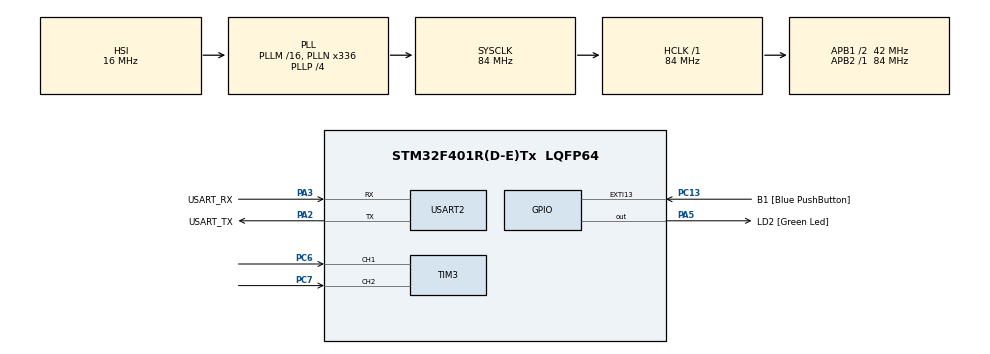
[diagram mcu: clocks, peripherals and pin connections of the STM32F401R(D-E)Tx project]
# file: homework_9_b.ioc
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Dma.Request0=USART2_TX
Dma.USART2_TX.0.Direction=DMA_MEMORY_TO_PERIPH
Dma.USART2_TX.0.FIFOMode=DMA_FIFOMODE_DISABLE
Dma.USART2_TX.0.Instance=DMA1_Stream6
Dma.USART2_TX.0.MemDataAlignment=DMA_MDATAALIGN_BYTE
Dma.USART2_TX.0.MemInc=DMA_MINC_ENABLE
Dma.USART2_TX.0.Mode=DMA_NORMAL
Dma.USART2_TX.0.PeriphDataAlignment=DMA_PDATAALIGN_BYTE
Dma.USART2_TX.0.PeriphInc=DMA_PINC_DISABLE
Dma.USART2_TX.0.Priority=DMA_PRIORITY_LOW
Mcu.Family=STM32F4
Mcu.Name=STM32F401R(D-E)Tx
Mcu.Package=LQFP64
NVIC.DMA1_Stream6_IRQn=true\:0\:0\:false\:false\:true\:false\:true\:true
NVIC.PriorityGroup=NVIC_PRIORITYGROUP_0
NVIC.TIM1_UP_TIM10_IRQn=true\:0\:0\:false\:false\:true\:true\:true\:true
NVIC.USART2_IRQn=true\:0\:0\:false\:false\:true\:true\:true\:true
PA13.GPIO_Label=TMS
PA13.Mode=Serial_Wire
PA13.Signal=SYS_JTMS-SWDIO
PA14.GPIO_Label=TCK
PA14.Mode=Serial_Wire
PA14.Signal=SYS_JTCK-SWCLK
PA2.GPIO_Label=USART_TX
PA2.GPIO_Mode=GPIO_MODE_AF_PP
PA2.GPIO_PuPd=GPIO_NOPULL
PA2.GPIO_Speed=GPIO_SPEED_FREQ_LOW
PA2.Mode=Asynchronous
PA2.Signal=USART2_TX
PA3.GPIO_Label=USART_RX
PA3.GPIO_Mode=GPIO_MODE_AF_PP
PA3.GPIO_PuPd=GPIO_NOPULL
PA3.GPIO_Speed=GPIO_SPEED_FREQ_LOW
PA3.Mode=Asynchronous
PA3.Signal=USART2_RX
PA5.GPIO_Label=LD2 [Green Led]
PA5.GPIO_Mode=GPIO_MODE_OUTPUT_PP
PA5.GPIO_PuPd=GPIO_NOPULL
PA5.GPIO_Speed=GPIO_SPEED_FREQ_LOW
PA5.Signal=GPIO_Output
PB3.GPIO_Label=SWO
PB3.Signal=SYS_JTDO-SWO
PC13-ANTI_TAMP.GPIO_Label=B1 [Blue PushButton]
PC13-ANTI_TAMP.GPIO_ModeDefaultEXTI=GPIO_MODE_IT_FALLING
PC13-ANTI_TAMP.GPIO_PuPd=GPIO_NOPULL
PC13-ANTI_TAMP.Signal=GPXTI13
PC14-OSC32_IN.Mode=LSE-External-Oscillator
PC14-OSC32_IN.Signal=RCC_OSC32_IN
PC15-OSC32_OUT.Mode=LSE-External-Oscillator
PC15-OSC32_OUT.Signal=RCC_OSC32_OUT
PC6.Signal=S_TIM3_CH1
PC7.Signal=S_TIM3_CH2
PH0\ -\ OSC_IN.Mode=HSE-External-Clock-Source
PH0\ -\ OSC_IN.Signal=RCC_OSC_IN
PH1\ -\ OSC_OUT.Mode=HSE-External-Clock-Source
PH1\ -\ OSC_OUT.Signal=RCC_OSC_OUT
ProjectManager.HeapSize=0x200
ProjectManager.StackSize=0x400
ProjectManager.TargetToolchain=STM32CubeIDE
RCC.48MHZClocksFreq_Value=48000000
RCC.AHBFreq_Value=84000000
RCC.APB1CLKDivider=RCC_HCLK_DIV2
RCC.APB1Freq_Value=42000000
RCC.APB1TimFreq_Value=84000000
RCC.APB2Freq_Value=84000000
RCC.APB2TimFreq_Value=84000000
RCC.CortexFreq_Value=84000000
RCC.HCLKFreq_Value=84000000
RCC.HSE_VALUE=8000000
RCC.HSI_VALUE=16000000
RCC.PLLN=336
RCC.PLLP=RCC_PLLP_DIV4
RCC.PLLQ=7
RCC.SYSCLKFreq_VALUE=84000000
RCC.SYSCLKSource=RCC_SYSCLKSOURCE_PLLCLK
RCC.VCOOutputFreq_Value=336000000
SH.S_TIM3_CH1.0=TIM3_CH1,Encoder_Interface
SH.S_TIM3_CH2.0=TIM3_CH2,Encoder_Interface
TIM10.Period=8400-1
TIM10.Prescaler=10000-1
TIM3.ClockDivision=TIM_CLOCKDIVISION_DIV4
TIM3.IC1Filter=15
TIM3.IC1Polarity=TIM_ICPOLARITY_FALLING
TIM3.IC2Filter=15
USART2.VirtualMode=VM_ASYNC
VP_TIM10_VS_ClockSourceINT.Mode=Enable_Timer
board=NUCLEO-F401RE

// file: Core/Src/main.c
/* USER CODE BEGIN Header */
/**
  ******************************************************************************
  * @file           : main.c
  * @brief          : Main program body
  ******************************************************************************
  * @attention
  *
  * Copyright (c) 2022 STMicroelectronics.
  * All rights reserved.
  *
  * This software is licensed under terms that can be found in the LICENSE file
  * in the root directory of this software component.
  * If no LICENSE file comes with this software, it is provided AS-IS.
  *
  ******************************************************************************
  */
/* USER CODE END Header */
#include "main.h"

/* USER CODE BEGIN PD */
#define MAX_JUMP 24         //assuming that fingers can't make more than, for example,
/* USER CODE END PD */      //one full-turn of the encoder knob in a second

TIM_HandleTypeDef htim3;
TIM_HandleTypeDef htim10;

UART_HandleTypeDef huart2;
DMA_HandleTypeDef hdma_usart2_tx;

/* USER CODE BEGIN PV */
int16_t new_counts_in_1_second = 0;
int16_t old_counts_in_1_second;
int delta;
float RPMs;
char output_string[64];
/* USER CODE END PV */

void SystemClock_Config(void);
static void MX_GPIO_Init(void);
static void MX_DMA_Init(void);
static void MX_USART2_UART_Init(void);
static void MX_TIM3_Init(void);
static void MX_TIM10_Init(void);

/* USER CODE BEGIN 0 */
void HAL_TIM_PeriodElapsedCallback(TIM_HandleTypeDef* calling_timer){
  if(calling_timer==&htim10){
    old_counts_in_1_second=new_counts_in_1_second;
    new_counts_in_1_second=__HAL_TIM_GET_COUNTER(&htim3);
    delta=new_counts_in_1_second-old_counts_in_1_second;

    if(delta<-MAX_JUMP){          //strange count jump: it must be an overflow (es (-32768)-32766 instead of 32768-32766)
      delta=delta+65536;          //OVERFLOW PROTECTION, scaling result by 2^16=65536 (16bit Timer)
    }
    else if(delta>MAX_JUMP){      //strange count jump: it must be an underflow (es 32766-(-32768) instead of (-32770)-(-32768))
      delta=delta-65536;          //UNDERFLOW PROTECTION, scaling result by 2^16=65536 (16bit Timer)
    }

    RPMs=(delta/24.0)*60;
    snprintf(output_string, sizeof(output_string), "RPMs = %.3f, New = %d, Old = %d, Delta = %d\r\n", RPMs, new_counts_in_1_second, old_counts_in_1_second, delta);
    HAL_UART_Transmit_DMA(&huart2, output_string, strlen(output_string));
  }
}
/* USER CODE END 0 */

int main(void)
{

  /* MCU Configuration--------------------------------------------------------*/

  /* Reset of all peripherals, Initializes the Flash interface and the Systick. */
  HAL_Init();

  /* Configure the system clock */
  SystemClock_Config();

  /* Initialize all configured peripherals */
  MX_GPIO_Init();
  MX_DMA_Init();
  MX_USART2_UART_Init();
  MX_TIM3_Init();
  MX_TIM10_Init();
  /* USER CODE BEGIN 2 */
  HAL_TIM_Encoder_Start(&htim3, TIM_CHANNEL_ALL);

  //new_counts_in_1_second=32766;             //FOR DEBUG
  //__HAL_TIM_SET_COUNTER(&htim3, 32766);     //FOR DEBUG

  //new_counts_in_1_second=-32768;            //FOR DEBUG
  //__HAL_TIM_SET_COUNTER(&htim3, -32768);    //FOR DEBUG

  HAL_TIM_Base_Start_IT(&htim10);
  /* USER CODE END 2 */

  /* Infinite loop */
  while (1)
  {

  }
}

void SystemClock_Config(void)
{
  RCC_OscInitTypeDef RCC_OscInitStruct = {0};
  RCC_ClkInitTypeDef RCC_ClkInitStruct = {0};

  /** Configure the main internal regulator output voltage
  */
  __HAL_RCC_PWR_CLK_ENABLE();
  __HAL_PWR_VOLTAGESCALING_CONFIG(PWR_REGULATOR_VOLTAGE_SCALE2);

  /** Initializes the RCC Oscillators according to the specified parameters
  * in the RCC_OscInitTypeDef structure.
  */
  RCC_OscInitStruct.OscillatorType = RCC_OSCILLATORTYPE_HSI;
  RCC_OscInitStruct.HSIState = RCC_HSI_ON;
  RCC_OscInitStruct.HSICalibrationValue = RCC_HSICALIBRATION_DEFAULT;
  RCC_OscInitStruct.PLL.PLLState = RCC_PLL_ON;
  RCC_OscInitStruct.PLL.PLLSource = RCC_PLLSOURCE_HSI;
  RCC_OscInitStruct.PLL.PLLM = 16;
  RCC_OscInitStruct.PLL.PLLN = 336;
  RCC_OscInitStruct.PLL.PLLP = RCC_PLLP_DIV4;
  RCC_OscInitStruct.PLL.PLLQ = 7;
  if (HAL_RCC_OscConfig(&RCC_OscInitStruct) != HAL_OK)
  {
    Error_Handler();
  }

  /** Initializes the CPU, AHB and APB buses clocks
  */
  RCC_ClkInitStruct.ClockType = RCC_CLOCKTYPE_HCLK|RCC_CLOCKTYPE_SYSCLK
                              |RCC_CLOCKTYPE_PCLK1|RCC_CLOCKTYPE_PCLK2;
  RCC_ClkInitStruct.SYSCLKSource = RCC_SYSCLKSOURCE_PLLCLK;
  RCC_ClkInitStruct.AHBCLKDivider = RCC_SYSCLK_DIV1;
  RCC_ClkInitStruct.APB1CLKDivider = RCC_HCLK_DIV2;
  RCC_ClkInitStruct.APB2CLKDivider = RCC_HCLK_DIV1;

  if (HAL_RCC_ClockConfig(&RCC_ClkInitStruct, FLASH_LATENCY_2) != HAL_OK)
  {
    Error_Handler();
  }
}

static void MX_TIM3_Init(void)
{

  TIM_Encoder_InitTypeDef sConfig = {0};
  TIM_MasterConfigTypeDef sMasterConfig = {0};

  htim3.Instance = TIM3;
  htim3.Init.Prescaler = 0;
  htim3.Init.CounterMode = TIM_COUNTERMODE_UP;
  htim3.Init.Period = 65535;
  htim3.Init.ClockDivision = TIM_CLOCKDIVISION_DIV4;
  htim3.Init.AutoReloadPreload = TIM_AUTORELOAD_PRELOAD_DISABLE;
  sConfig.EncoderMode = TIM_ENCODERMODE_TI1;
  sConfig.IC1Polarity = TIM_ICPOLARITY_FALLING;
  sConfig.IC1Selection = TIM_ICSELECTION_DIRECTTI;
  sConfig.IC1Prescaler = TIM_ICPSC_DIV1;
  sConfig.IC1Filter = 15;
  sConfig.IC2Polarity = TIM_ICPOLARITY_RISING;
  sConfig.IC2Selection = TIM_ICSELECTION_DIRECTTI;
  sConfig.IC2Prescaler = TIM_ICPSC_DIV1;
  sConfig.IC2Filter = 15;
  if (HAL_TIM_Encoder_Init(&htim3, &sConfig) != HAL_OK)
  {
    Error_Handler();
  }
  sMasterConfig.MasterOutputTrigger = TIM_TRGO_RESET;
  sMasterConfig.MasterSlaveMode = TIM_MASTERSLAVEMODE_DISABLE;
  if (HAL_TIMEx_MasterConfigSynchronization(&htim3, &sMasterConfig) != HAL_OK)
  {
    Error_Handler();
  }

}

static void MX_TIM10_Init(void)
{

  htim10.Instance = TIM10;
  htim10.Init.Prescaler = 10000-1;
  htim10.Init.CounterMode = TIM_COUNTERMODE_UP;
  htim10.Init.Period = 8400-1;
  htim10.Init.ClockDivision = TIM_CLOCKDIVISION_DIV1;
  htim10.Init.AutoReloadPreload = TIM_AUTORELOAD_PRELOAD_DISABLE;
  if (HAL_TIM_Base_Init(&htim10) != HAL_OK)
  {
    Error_Handler();
  }

}

static void MX_USART2_UART_Init(void)
{

  huart2.Instance = USART2;
  huart2.Init.BaudRate = 115200;
  huart2.Init.WordLength = UART_WORDLENGTH_8B;
  huart2.Init.StopBits = UART_STOPBITS_1;
  huart2.Init.Parity = UART_PARITY_NONE;
  huart2.Init.Mode = UART_MODE_TX_RX;
  huart2.Init.HwFlowCtl = UART_HWCONTROL_NONE;
  huart2.Init.OverSampling = UART_OVERSAMPLING_16;
  if (HAL_UART_Init(&huart2) != HAL_OK)
  {
    Error_Handler();
  }

}

static void MX_DMA_Init(void)
{

  /* DMA controller clock enable */
  __HAL_RCC_DMA1_CLK_ENABLE();

  /* DMA interrupt init */
  /* DMA1_Stream6_IRQn interrupt configuration */
  HAL_NVIC_SetPriority(DMA1_Stream6_IRQn, 0, 0);
  HAL_NVIC_EnableIRQ(DMA1_Stream6_IRQn);

}

static void MX_GPIO_Init(void)
{
  GPIO_InitTypeDef GPIO_InitStruct = {0};

  /* GPIO Ports Clock Enable */
  __HAL_RCC_GPIOC_CLK_ENABLE();
  __HAL_RCC_GPIOH_CLK_ENABLE();
  __HAL_RCC_GPIOA_CLK_ENABLE();
  __HAL_RCC_GPIOB_CLK_ENABLE();

  /*Configure GPIO pin Output Level */
  HAL_GPIO_WritePin(LD2_GPIO_Port, LD2_Pin, GPIO_PIN_RESET);

  /*Configure GPIO pin : B1_Pin */
  GPIO_InitStruct.Pin = B1_Pin;
  GPIO_InitStruct.Mode = GPIO_MODE_IT_FALLING;
  GPIO_InitStruct.Pull = GPIO_NOPULL;
  HAL_GPIO_Init(B1_GPIO_Port, &GPIO_InitStruct);

  /*Configure GPIO pin : LD2_Pin */
  GPIO_InitStruct.Pin = LD2_Pin;
  GPIO_InitStruct.Mode = GPIO_MODE_OUTPUT_PP;
  GPIO_InitStruct.Pull = GPIO_NOPULL;
  GPIO_InitStruct.Speed = GPIO_SPEED_FREQ_LOW;
  HAL_GPIO_Init(LD2_GPIO_Port, &GPIO_InitStruct);

}

void Error_Handler(void)
{
  __disable_irq();
  while (1)
  {
  }
}
